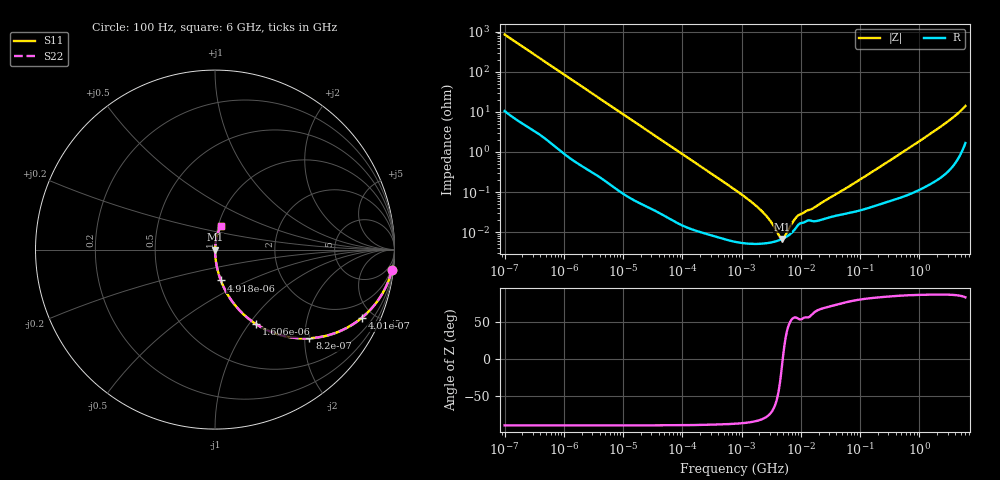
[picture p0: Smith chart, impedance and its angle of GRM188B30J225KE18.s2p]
!Murata Part Number: GRM188B30J225KE18
!These Parameters are Measured in Series Mode Connection
!Data Generated on Mar 30, 2021
!  o--ll--o
!Port1  Port2
!  o------o
!Operation Temp=25[degC], DC Bias Voltage=0[V]
!Freq. Start=100[Hz] Stop=6[GHz] 401[Steps]
# Hz S RI R 50
!Freq.(Hz) S11(Real) S11(Imag) S21(Real) S21(Imag) S12(Real) S12(Imag) S22(Real) S22(Imag)
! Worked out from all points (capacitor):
!   401 points, 100 Hz to 6 GHz, reference 50 ohm
!   read as one part in series: C = 1.87 uF near 109 Hz
!   lowest |Z| = 6.84 mohm at 4.857 MHz (marker M1)
!   series resonance near 4.954 MHz, so ESL is about 550 pH
!   S11 on the Smith chart (normalised r, x): 100 Hz: 1, -17; 401 Hz: 1.05, -4.29; 820 Hz: 1.02, -2.11; 1.606 kHz: 1.01, -1.08; 4.918 kHz: 1.00, -0.36; 6 GHz: 1.03, +0.28
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100  0.985 -0.1157  0.015 0.1157  0.015 0.1157  0.985 -0.1157
224  0.9332 -0.2437  0.0668 0.2437  0.0668 0.2437  0.9332 -0.2437
401  0.8183 -0.3795  0.1817 0.3795  0.1817 0.3795  0.8183 -0.3795
820  0.5256 -0.4939  0.4744 0.4939  0.4744 0.4939  0.5256 -0.4939
1606  0.2281 -0.4146  0.7719 0.4146  0.7719 0.4146  0.2281 -0.4146
2008  0.16 -0.3615  0.84 0.3615  0.84 0.3615  0.16 -0.3615
3005  0.0798 -0.2657  0.9202 0.2657  0.9202 0.2657  0.0798 -0.2657
4918  0.0323 -0.1716  0.9677 0.1716  0.9677 0.1716  0.0323 -0.1716
12041  0.00605 -0.0724  0.994 0.0724  0.994 0.0724  0.00605 -0.0724
40335  0.000786 -0.0219  0.9992 0.0219  0.9992 0.0219  0.000786 -0.0219
774597  5.91e-05 -0.00114  0.9999 0.00114  0.9999 0.00114  5.91e-05 -0.00114
2169299  5.19e-05 -0.000339  0.9999 0.000339  0.9999 0.000339  5.19e-05 -0.000339
2837864  5.42e-05 -0.000215  0.9999 0.000215  0.9999 0.000215  5.42e-05 -0.000215
4060267  6.14e-05 -7.35e-05  0.9999 7.35e-05  0.9999 7.35e-05  6.14e-05 -7.35e-05
4856642  6.8e-05 -7.2e-06  0.9999 7.2e-06  0.9999 7.2e-06  6.8e-05 -7.2e-06
5809218  7.82e-05 5.89e-05  0.9999 -5.89e-05  0.9999 -5.89e-05  7.82e-05 5.89e-05
7947587  0.000119 0.000178  0.9999 -0.000178  0.9999 -0.000178  0.000119 0.000178
9090158  0.000154 0.000214  0.9998 -0.000214  0.9998 -0.000214  0.000154 0.000214
1.555665e7  0.00019 0.000334  0.9998 -0.000334  0.9998 -0.000334  0.00019 0.000334
3.124326e8  0.000628 0.00599  0.9994 -0.00599  0.9994 -0.00599  0.000628 0.00599
2.34314e9  0.00423 0.0434  0.9958 -0.0434  0.9958 -0.0434  0.00423 0.0434
6e9  0.0347 0.1327  0.9653 -0.1327  0.9653 -0.1327  0.0347 0.1327
